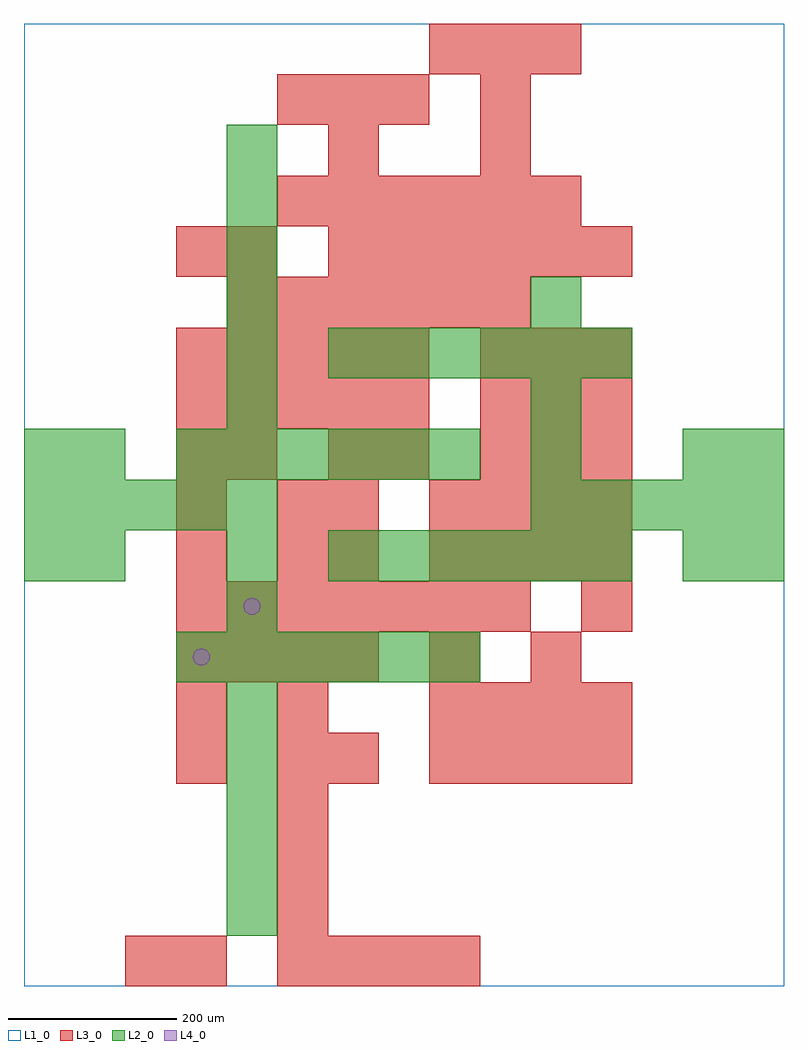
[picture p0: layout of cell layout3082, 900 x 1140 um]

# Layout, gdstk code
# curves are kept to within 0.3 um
import gdstk
lib = gdstk.Library(unit=1e-6, precision=1e-09)
def R(c, l, rs):  # rectangles x0, y0, x1, y1
    for r in rs: c.add(gdstk.rectangle(r[:2], r[2:], *l))
def A(c, l, x, y, w, h, nx, ny, dx, dy):  # array of equal rectangles
    R(c, l, [(x+i*dx, y+j*dy, x+i*dx+w, y+j*dy+h) for i in range(nx) for j in range(ny)])
def P(c, l, *ps):  # polygons
    for p in ps: c.add(gdstk.Polygon(p, *l))
L1_0 = (1, 0)
L2_0 = (2, 0)
L3_0 = (3, 0)
L4_0 = (4, 0)

layout3082 = lib.new_cell('layout3082')
R(layout3082, L1_0, [(0,0,900,1140)])
A(layout3082, L2_0, 240, 60, 60, 60, 1, 5, 0, 60)
A(layout3082, L2_0, 180, 360, 60, 60, 6, 2, 60, 240)
A(layout3082, L2_0, 360, 480, 60, 60, 6, 2, 60, 240)
A(layout3082, L2_0, 0, 540, 60, 60, 5, 1, 60, 0)
A(layout3082, L2_0, 600, 540, 60, 60, 5, 1, 60, 0)
A(layout3082, L2_0, 240, 660, 60, 60, 1, 6, 0, 60)
R(layout3082, L2_0, [(240,420,300,480), (0,480,60,540), (60,480,120,540), (240,480,300,540), (780,480,840,540), (840,480,900,540), (0,600,60,660), (60,600,120,660), (600,600,660,660), (780,600,840,660), (840,600,900,660), (600,660,660,720), (600,780,660,840)])
A(layout3082, L3_0, 300, 0, 60, 60, 4, 1, 60, 0)
A(layout3082, L3_0, 300, 60, 60, 60, 1, 5, 0, 60)
A(layout3082, L3_0, 480, 240, 60, 60, 4, 2, 60, 60)
A(layout3082, L3_0, 180, 360, 60, 60, 4, 1, 60, 0)
A(layout3082, L3_0, 180, 420, 60, 60, 7, 1, 60, 0)
A(layout3082, L3_0, 180, 480, 60, 60, 1, 3, 0, 60)
A(layout3082, L3_0, 360, 480, 60, 60, 1, 3, 0, 60)
A(layout3082, L3_0, 480, 480, 60, 60, 4, 2, 60, 60)
A(layout3082, L3_0, 540, 600, 60, 60, 3, 3, 60, 60)
A(layout3082, L3_0, 180, 660, 60, 60, 5, 2, 60, 60)
A(layout3082, L3_0, 240, 780, 60, 60, 6, 1, 60, 0)
A(layout3082, L3_0, 360, 840, 60, 60, 6, 1, 60, 0)
A(layout3082, L3_0, 300, 900, 60, 60, 6, 1, 60, 0)
A(layout3082, L3_0, 300, 1020, 60, 60, 3, 1, 60, 0)
A(layout3082, L3_0, 480, 1080, 60, 60, 3, 1, 60, 0)
R(layout3082, L3_0, [(120,0,180,60), (180,0,240,60), (180,240,240,300), (360,240,420,300), (180,300,240,360), (480,360,540,420), (600,360,660,420), (660,420,720,480), (300,480,360,540), (300,540,360,600), (240,600,300,660), (420,600,480,660), (180,840,240,900), (240,840,300,900), (360,960,420,1020), (540,960,600,1020), (540,1020,600,1080)])
P(layout3082, L4_0, [(220,390),(219.239,393.827),(217.071,397.071),(213.827,399.239),(210,400),(206.173,399.239),(202.929,397.071),(200.761,393.827),(200,390),(200.761,386.173),(202.929,382.929),(206.173,380.761),(210,380),(213.827,380.761),(217.071,382.929),(219.239,386.173)],
  [(280,450),(279.239,453.827),(277.071,457.071),(273.827,459.239),(270,460),(266.173,459.239),(262.929,457.071),(260.761,453.827),(260,450),(260.761,446.173),(262.929,442.929),(266.173,440.761),(270,440),(273.827,440.761),(277.071,442.929),(279.239,446.173)])

lib.write_gds('layout3082.gds')
